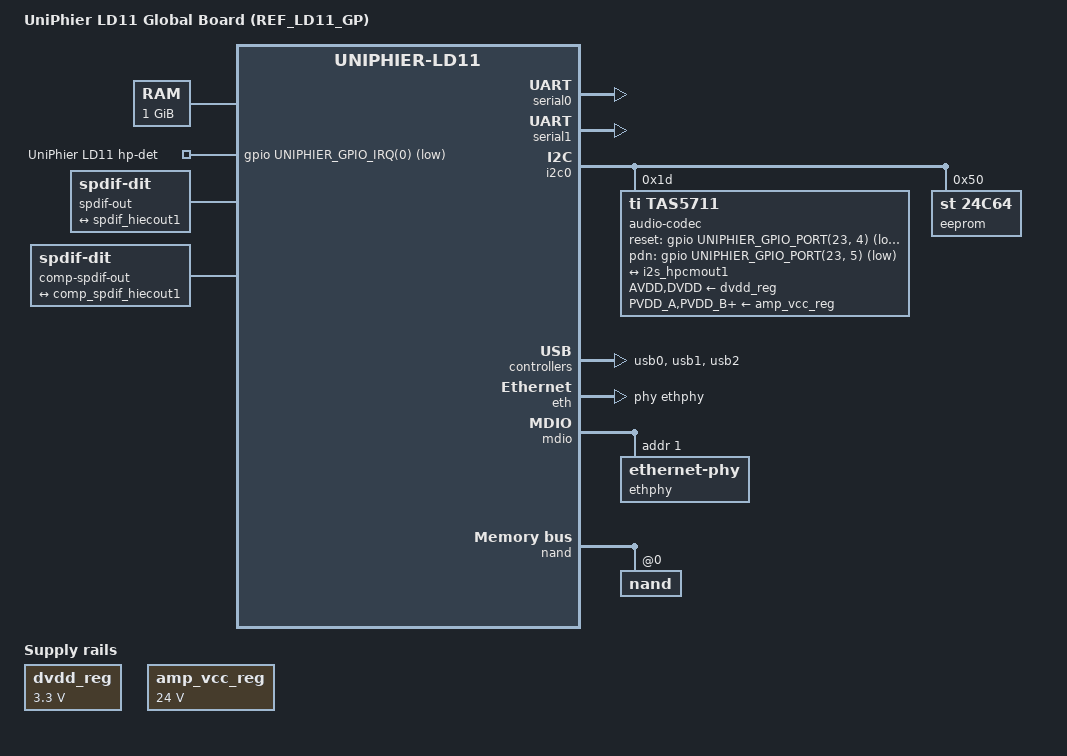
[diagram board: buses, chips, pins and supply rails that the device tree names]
// SPDX-License-Identifier: GPL-2.0+ OR MIT
//
// Device Tree Source for UniPhier LD11 Global Board
//
// Copyright (C) 2016-2017 Socionext Inc.
//   Author: Masahiro Yamada <yamada.masahiro@socionext.com>
//           Kunihiko Hayashi <hayashi.kunihiko@socionext.com>

/dts-v1/;
#include <dt-bindings/gpio/uniphier-gpio.h>
#include "uniphier-ld11.dtsi"

/ {
	model = "UniPhier LD11 Global Board (REF_LD11_GP)";
	compatible = "socionext,uniphier-ld11-global",
		     "socionext,uniphier-ld11";

	chosen {
		stdout-path = "serial0:115200n8";
	};

	aliases {
		serial0 = &serial0;
		serial1 = &serial1;
		serial2 = &serial2;
		serial3 = &serial3;
		i2c0 = &i2c0;
		i2c1 = &i2c1;
		i2c2 = &i2c2;
		i2c3 = &i2c3;
		i2c4 = &i2c4;
		i2c5 = &i2c5;
		ethernet0 = &eth;
	};

	memory@80000000 {
		device_type = "memory";
		reg = <0 0x80000000 0 0x40000000>;
	};

	dvdd_reg: reg-fixed {
		compatible = "regulator-fixed";
		regulator-name = "DVDD";
		regulator-min-microvolt = <3300000>;
		regulator-max-microvolt = <3300000>;
	};

	amp_vcc_reg: reg-fixed {
		compatible = "regulator-fixed";
		regulator-name = "AMP_VCC";
		regulator-min-microvolt = <24000000>;
		regulator-max-microvolt = <24000000>;
	};

	sound {
		compatible = "audio-graph-card";
		label = "UniPhier LD11";
		widgets = "Headphone", "Headphones";
		dais = <&i2s_port2
			&i2s_port3
			&i2s_port4
			&spdif_port0
			&comp_spdif_port0>;
		hp-det-gpios = <&gpio UNIPHIER_GPIO_IRQ(0) GPIO_ACTIVE_LOW>;
	};

	spdif-out {
		compatible = "linux,spdif-dit";
		#sound-dai-cells = <0>;

		port@0 {
			spdif_tx: endpoint {
				remote-endpoint = <&spdif_hiecout1>;
			};
		};
	};

	comp-spdif-out {
		compatible = "linux,spdif-dit";
		#sound-dai-cells = <0>;

		port@0 {
			comp_spdif_tx: endpoint {
				remote-endpoint = <&comp_spdif_hiecout1>;
			};
		};
	};
};

&serial0 {
	status = "okay";
};

&serial1 {
	status = "okay";
};

&i2s_hpcmout1 {
	dai-format = "i2s";
	remote-endpoint = <&tas_speaker>;
};

&spdif_hiecout1 {
	remote-endpoint = <&spdif_tx>;
};

&comp_spdif_hiecout1 {
	remote-endpoint = <&comp_spdif_tx>;
};

&i2c0 {
	status = "okay";

	audio-codec@1d {
		compatible = "ti,tas5711";
		reg = <0x1d>;
		reset-gpios = <&gpio UNIPHIER_GPIO_PORT(23, 4) GPIO_ACTIVE_LOW>;
		pdn-gpios = <&gpio UNIPHIER_GPIO_PORT(23, 5) GPIO_ACTIVE_LOW>;
		#sound-dai-cells = <0>;
		AVDD-supply = <&dvdd_reg>;
		DVDD-supply = <&dvdd_reg>;
		PVDD_A-supply = <&amp_vcc_reg>;
		PVDD_B-supply = <&amp_vcc_reg>;
		PVDD_C-supply = <&amp_vcc_reg>;
		PVDD_D-supply = <&amp_vcc_reg>;

		port {
			tas_speaker: endpoint {
				dai-format = "i2s";
				remote-endpoint = <&i2s_hpcmout1>;
			};
		};
	};

	eeprom@50 {
		compatible = "st,24c64", "atmel,24c64";
		reg = <0x50>;
		pagesize = <32>;
	};
};

&usb0 {
	status = "okay";
};

&usb1 {
	status = "okay";
};

&usb2 {
	status = "okay";
};

&eth {
	status = "okay";
	phy-handle = <&ethphy>;
};

&mdio {
	ethphy: ethernet-phy@1 {
		reg = <1>;
	};
};

&nand {
	status = "okay";

	nand@0 {
		reg = <0>;
	};
};
